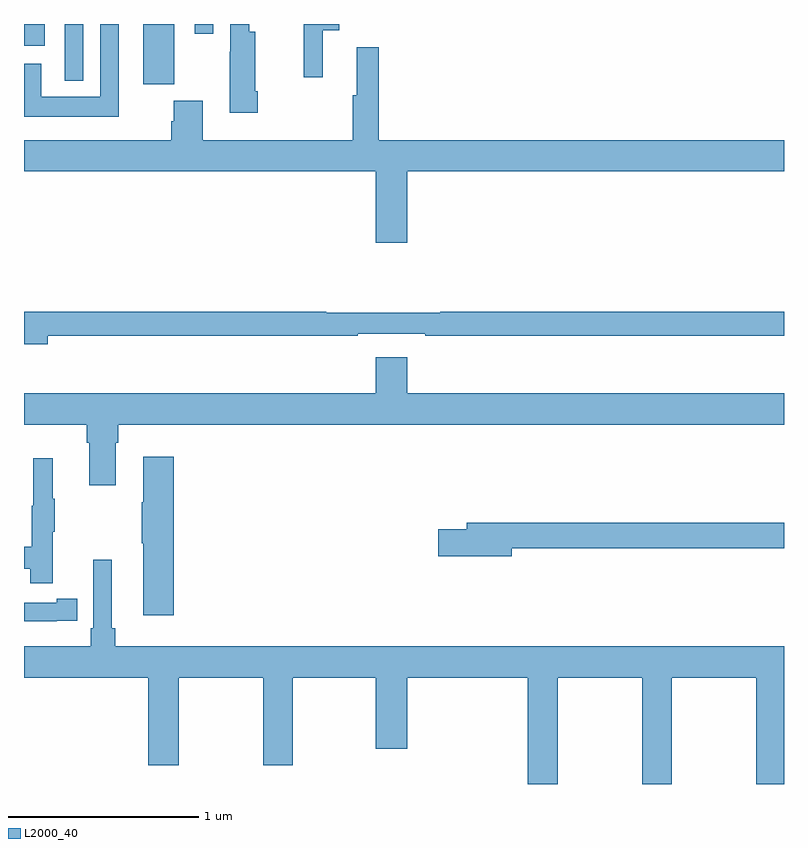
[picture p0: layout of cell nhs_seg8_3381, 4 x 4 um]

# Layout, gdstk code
import gdstk
lib = gdstk.Library(unit=1e-6, precision=1e-09)
def R(c, l, rs):  # rectangles x0, y0, x1, y1
    for r in rs: c.add(gdstk.rectangle(r[:2], r[2:], *l))
def P(c, l, *ps):  # polygons
    for p in ps: c.add(gdstk.Polygon(p, *l))
L2000_40 = (2000, 40)

nhs_seg8_3381 = lib.new_cell('nhs_seg8_3381')
R(nhs_seg8_3381, L2000_40, [(319.628,1159.582,319.792,1159.9), (319.215,1159.601,319.311,1159.9), (319,1159.785,319.108,1159.9), (319.899,1159.848,319.995,1159.9)])
P(nhs_seg8_3381, L2000_40, [(320.231,1159.546),(320.218,1159.546),(320.218,1159.858),(320.186,1159.858),(320.186,1159.9),(320.085,1159.9),(320.085,1159.754),(320.084,1159.754),(320.084,1159.434),(320.231,1159.434)],
  [(319.498,1159.9),(319.401,1159.9),(319.401,1159.516),(319.092,1159.516),(319.092,1159.69),(319,1159.69),(319,1159.412),(319.498,1159.412)],
  [(320.573,1159.868),(320.659,1159.868),(320.659,1159.9),(320.473,1159.9),(320.473,1159.62),(320.573,1159.62)],
  [(321.016,1159.124),(323,1159.124),(323,1159.288),(320.867,1159.288),(320.867,1159.777),(320.75,1159.777),(320.75,1159.524),(320.731,1159.524),(320.731,1159.288),(319.94,1159.288),(319.94,1159.497),(319.787,1159.497),(319.787,1159.388),(319.775,1159.388),(319.775,1159.288),(319,1159.288),(319,1159.124),(320.852,1159.124),(320.852,1158.75),(321.016,1158.75)],
  [(319.126,1158.258),(320.756,1158.258),(320.756,1158.27),(321.112,1158.27),(321.112,1158.258),(323,1158.258),(323,1158.386),(321.191,1158.386),(321.191,1158.379),(320.591,1158.379),(320.591,1158.386),(319,1158.386),(319,1158.215),(319.126,1158.215)],
  [(319.483,1157.696),(319.496,1157.696),(319.496,1157.792),(323,1157.792),(323,1157.956),(321.016,1157.956),(321.016,1158.145),(320.852,1158.145),(320.852,1157.956),(319,1157.956),(319,1157.792),(319.331,1157.792),(319.331,1157.696),(319.343,1157.696),(319.343,1157.472),(319.483,1157.472)],
  [(319.787,1157.623),(319.628,1157.623),(319.628,1157.384),(319.621,1157.384),(319.621,1157.167),(319.628,1157.167),(319.628,1156.788),(319.787,1156.788)],
  [(319.151,1157.227),(319.162,1157.227),(319.162,1157.401),(319.151,1157.401),(319.151,1157.614),(319.048,1157.614),(319.048,1157.364),(319.041,1157.364),(319.041,1157.15),(319,1157.15),(319,1157.034),(319.033,1157.034),(319.033,1156.956),(319.151,1156.956)],
  [(321.568,1157.14),(323,1157.14),(323,1157.276),(321.329,1157.276),(321.329,1157.24),(321.18,1157.24),(321.18,1157.098),(321.568,1157.098)],
  [(321.81,1156.46),(322.255,1156.46),(322.255,1155.9),(322.41,1155.9),(322.41,1156.46),(322.855,1156.46),(322.855,1155.9),(323,1155.9),(323,1156.624),(319.481,1156.624),(319.481,1156.72),(319.462,1156.72),(319.462,1157.08),(319.365,1157.08),(319.365,1156.72),(319.352,1156.72),(319.352,1156.624),(319,1156.624),(319,1156.46),(319.655,1156.46),(319.655,1155.999),(319.815,1155.999),(319.815,1156.46),(320.26,1156.46),(320.26,1155.999),(320.415,1155.999),(320.415,1156.46),(320.852,1156.46),(320.852,1156.086),(321.016,1156.086),(321.016,1156.46),(321.65,1156.46),(321.65,1155.9),(321.81,1155.9)],
  [(319.172,1156.758),(319.28,1156.758),(319.28,1156.874),(319.172,1156.874),(319.172,1156.854),(319,1156.854),(319,1156.757),(319.172,1156.757)])

lib.write_gds('nhs_seg8_3381.gds')
